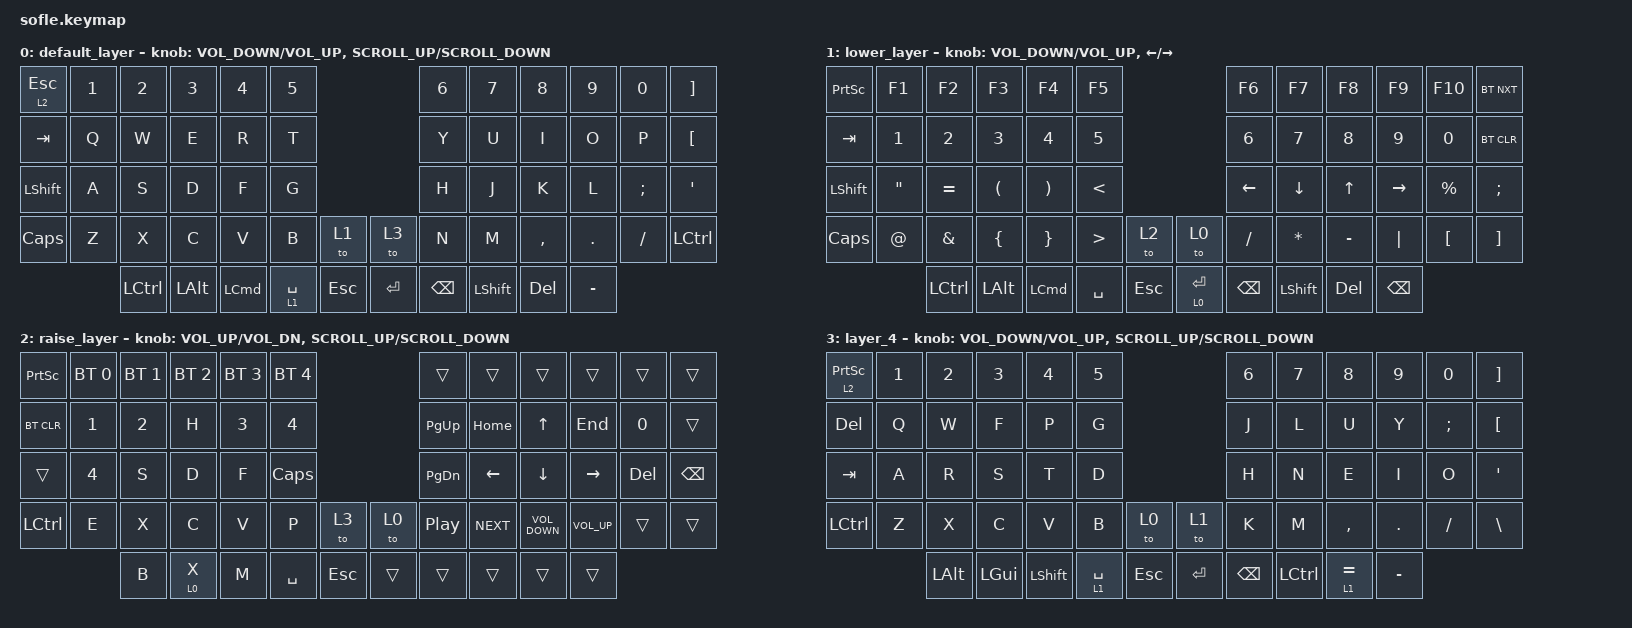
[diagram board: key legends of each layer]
/*
 * Copyright (c) 2020 The ZMK Contributors
 *
 * SPDX-License-Identifier: MIT
 */

#include <behaviors.dtsi>
#include <dt-bindings/zmk/bt.h>
#include <dt-bindings/zmk/keys.h>

/ {
    combos {
        compatible = "zmk,combos";

        new_combo {
            bindings = <&kp 0>;
            key-positions = <>;
        };
    };

    macros {
        copy_macro: copy_macro {
            compatible = "zmk,behavior-macro";
            label = "COPY_MACRO";
            #binding-cells = <0>;
            bindings = <&macro_tap>, <&kp LCTRL &kp C>;
        };

        paste_macro: paste_macro {
            compatible = "zmk,behavior-macro";
            label = "PASTE_MACRO";
            #binding-cells = <0>;
            bindings = <&kp LCTRL &kp V>, <&macro_tap>;
        };
    };

    keymap {
        compatible = "zmk,keymap";

        default_layer {
            // ------------------------------------------------------------------------------------------------------------
            // |  `    |  1  |  2  |  3   |  4   |  5   |                   |  6   |  7    |  8    |  9   |   0   |       |
            // |  ESC  |  Q  |  W  |  E   |  R   |  T   |                   |  Y   |  U    |  I    |  O   |   P   | BKSPC |
            // |  TAB  |  A  |  S  |  D   |  F   |  G   |                   |  H   |  J    |  K    |  L   |   ;   |   '   |
            // | SHIFT |  Z  |  X  |  C   |  V   |  B   |  MUTE  |  |       |  N   |  M    |  ,    |  .   |   /   | SHIFT |
            //               | GUI | ALT  | CTRL | LOWER|  ENTER |  | SPACE | RAISE| CTRL  | ALT   | GUI  |

            bindings = <
&lt 2 ESC       &kp N1  &kp N2            &kp N3        &kp N4            &kp N5                              &kp N6         &kp N7          &kp N8      &kp N9     &kp N0         &kp RIGHT_BRACKET
&kp TAB         &kp Q   &kp W             &kp E         &kp R             &kp T                               &kp Y          &kp U           &kp I       &kp O      &kp P          &kp LEFT_BRACKET
&kp LEFT_SHIFT  &kp A   &kp S             &kp D         &kp F             &kp G                               &kp H          &kp J           &kp K       &kp L      &kp SEMICOLON  &kp SQT
&kp CAPS        &kp Z   &kp X             &kp C         &kp V             &kp B        &to 1       &to 3      &kp N          &kp M           &kp COMMA   &kp DOT    &kp FSLH       &kp LEFT_CONTROL
                        &kp LEFT_CONTROL  &kp LEFT_ALT  &kp LEFT_COMMAND  &lt 1 SPACE  &kp ESCAPE  &kp ENTER  &kp BACKSPACE  &kp LEFT_SHIFT  &kp DELETE  &kp MINUS
            >;

            sensor-bindings =
                <&inc_dec_kp C_VOLUME_DOWN C_VOLUME_UP>,
                <&inc_dec_kp K_SCROLL_UP K_SCROLL_DOWN>;
        };

        lower_layer {
            // TODO: Some binds are waiting for shifted keycode support.
            // ------------------------------------------------------------------------------------------------------------
            // |       |  F1 |  F2 |  F3  |  F4  |  F5  |                   |  F6  |  F7   |  F8   |  F9  |  F10  |  F11  |
            // | `     |   1 |   2 |   3  |   4  |   5  |                   |   6  |   7   |   8   |   9  |    0  |  F12  |
            // |       |  !  |  @  |  #   |  $   |  %   |                   |  ^   |  &    |  *    |  (   |   )   |   |   |
            // |       |  =  |  -  |  +   |  {   |  }   |        |  |       |  [   |  ]    |  ;    |  :   |   \   |       |
            //               |     |      |      |      |        |  |       |      |       |       |      |

            bindings = <
&kp PRINTSCREEN  &kp F1             &kp F2            &kp F3                &kp F4                 &kp F5                                     &kp F6          &kp F7          &kp F8        &kp F9           &kp F10           &bt BT_NXT
&kp TAB          &kp NUMBER_1       &kp NUMBER_2      &kp NUMBER_3          &kp NUMBER_4           &kp NUMBER_5                               &kp NUMBER_6    &kp NUMBER_7    &kp NUMBER_8  &kp NUMBER_9     &kp NUMBER_0      &bt BT_CLR
&kp LEFT_SHIFT   &kp DOUBLE_QUOTES  &kp EQUAL         &kp LEFT_PARENTHESIS  &kp RIGHT_PARENTHESIS  &kp LESS_THAN                              &kp LEFT_ARROW  &kp DOWN_ARROW  &kp UP_ARROW  &kp RIGHT_ARROW  &kp PERCENT       &kp SEMICOLON
&kp CAPS         &kp AT_SIGN        &kp AMPERSAND     &kp LEFT_BRACE        &kp RIGHT_BRACE        &kp GREATER_THAN  &to 2       &to 0        &kp SLASH       &kp ASTERISK    &kp MINUS     &kp PIPE         &kp LEFT_BRACKET  &kp RIGHT_BRACKET
                                    &kp LEFT_CONTROL  &kp LEFT_ALT          &kp LEFT_COMMAND       &kp SPACE         &kp ESCAPE  &lt 0 ENTER  &kp BACKSPACE   &kp LEFT_SHIFT  &kp DELETE    &kp BSPC
            >;

            sensor-bindings =
                <&inc_dec_kp C_VOLUME_DOWN C_VOLUME_UP>,
                <&inc_dec_kp LEFT_ARROW RIGHT_ARROW>;
        };

        raise_layer {
            // ------------------------------------------------------------------------------------------------------------
            // |BTCLR| BT1  | BT2  |  BT3  |  BT4  |  BT5 |                |      |      |       |      |       |       |
            // |     | INS  | PSCR | GUI   |       |      |                | PGUP |      |       |      |       |       |
            // |     | ALT  | CTRL | SHIFT |       | CAPS |                |  <-  |   ^  |   v   |  ->  |  DEL  | BKSPC |
            // |     | UNDO | CUT  | COPY  | PASTE |      |      |  |      |      |      |       |      |       |       |
            //              |      |       |       |      |      |  |      |      |      |       |      |

            bindings = <
&kp PRINTSCREEN  &bt BT_SEL 0  &bt BT_SEL 1  &bt BT_SEL 2  &bt BT_SEL 3  &bt BT_SEL 4                      &trans            &trans      &trans             &trans           &trans   &trans
&bt BT_CLR       &kp NUMBER_1  &kp NUMBER_2  &kp H         &kp NUMBER_3  &kp NUMBER_4                      &kp PG_UP         &kp HOME    &kp UP             &kp END          &kp N0   &trans
&trans           &kp NUMBER_4  &kp S         &kp D         &kp F         &kp CLCK                          &kp PG_DN         &kp LEFT    &kp DOWN           &kp RIGHT        &kp DEL  &kp BSPC
&kp LCTRL        &kp E         &kp X         &kp C         &kp V         &kp P         &to 3       &to 0   &kp C_PLAY_PAUSE  &kp C_NEXT  &kp C_VOLUME_DOWN  &kp C_VOLUME_UP  &trans   &trans
                               &kp B         &lt 0 X       &kp M         &kp SPACE     &kp ESCAPE  &trans  &trans            &trans      &trans             &trans
            >;

            sensor-bindings = <&inc_dec_kp C_VOL_UP C_VOL_DN &inc_dec_kp K_SCROLL_UP K_SCROLL_DOWN>;
        };

        layer_4 {
            bindings = <
&lt 2 PRINTSCREEN  &kp N1  &kp N2    &kp N3        &kp N4     &kp N5                              &kp N6         &kp N7            &kp N8       &kp N9     &kp N0         &kp RIGHT_BRACKET
&kp DEL            &kp Q   &kp W     &kp F         &kp P      &kp G                               &kp J          &kp L             &kp U        &kp Y      &kp SEMICOLON  &kp LEFT_BRACKET
&kp TAB            &kp A   &kp R     &kp S         &kp T      &kp D                               &kp H          &kp N             &kp E        &kp I      &kp O          &kp SQT
&kp LCTRL          &kp Z   &kp X     &kp C         &kp V      &kp B        &to 0       &to 1      &kp K          &kp M             &kp COMMA    &kp DOT    &kp FSLH       &kp BACKSLASH
                           &kp LALT  &kp LEFT_GUI  &kp LSHFT  &lt 1 SPACE  &kp ESCAPE  &kp ENTER  &kp BACKSPACE  &kp LEFT_CONTROL  &lt 1 EQUAL  &kp MINUS
            >;

            sensor-bindings =
                <&inc_dec_kp C_VOLUME_DOWN C_VOLUME_UP>,
                <&inc_dec_kp K_SCROLL_UP K_SCROLL_DOWN>;
        };
    };
};
